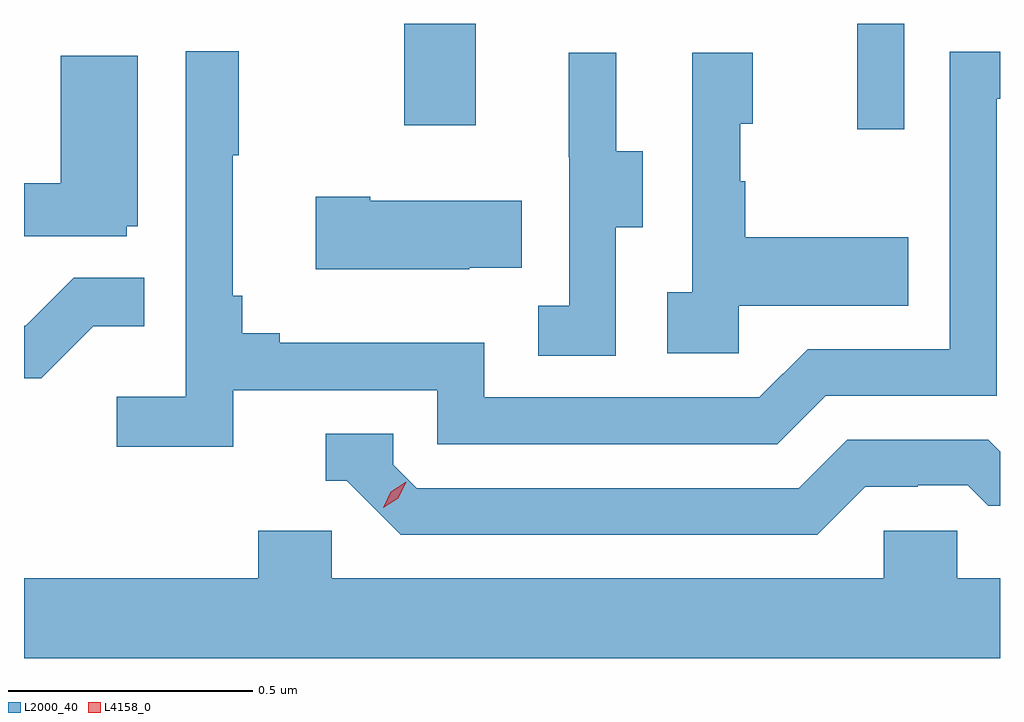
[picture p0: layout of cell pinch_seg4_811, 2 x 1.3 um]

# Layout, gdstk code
import gdstk
lib = gdstk.Library(unit=1e-6, precision=1e-09)
def R(c, l, rs):  # rectangles x0, y0, x1, y1
    for r in rs: c.add(gdstk.rectangle(r[:2], r[2:], *l))
def P(c, l, *ps):  # polygons
    for p in ps: c.add(gdstk.Polygon(p, *l))
L2000_40 = (2000, 40)
L4158_0 = (4158, 0)

pinch_seg4_811 = lib.new_cell('pinch_seg4_811')
R(pinch_seg4_811, L2000_40, [(806.78,829.872,806.877,830.089), (805.852,829.881,805.999,830.089)])
P(pinch_seg4_811, L2000_40, [(805.502,829.338),(805.92,829.338),(805.92,829.227),(806.617,829.227),(806.716,829.326),(807.066,829.326),(807.066,829.935),(807.073,829.935),(807.073,830.031),(806.97,830.031),(806.97,829.422),(806.679,829.422),(806.58,829.323),(806.016,829.323),(806.016,829.435),(805.597,829.435),(805.597,829.454),(805.52,829.454),(805.52,829.531),(805.501,829.531),(805.501,829.819),(805.513,829.819),(805.513,830.032),(805.404,830.032),(805.404,829.324),(805.263,829.324),(805.263,829.222),(805.502,829.222)],
  [(806.538,829.511),(806.885,829.511),(806.885,829.651),(806.551,829.651),(806.551,829.766),(806.541,829.766),(806.541,829.884),(806.566,829.884),(806.566,830.029),(806.442,830.029),(806.442,829.538),(806.391,829.538),(806.391,829.413),(806.538,829.413)],
  [(806.286,829.672),(806.341,829.672),(806.341,829.827),(806.287,829.827),(806.287,830.029),(806.189,830.029),(806.189,829.815),(806.19,829.815),(806.19,829.511),(806.127,829.511),(806.127,829.408),(806.286,829.408)],
  [(805.284,829.674),(805.306,829.674),(805.306,830.023),(805.148,830.023),(805.148,829.762),(805.073,829.762),(805.073,829.653),(805.284,829.653)],
  [(805.985,829.589),(806.093,829.589),(806.093,829.726),(805.783,829.726),(805.783,829.734),(805.671,829.734),(805.671,829.586),(805.985,829.586)],
  [(805.215,829.469),(805.319,829.469),(805.319,829.568),(805.175,829.568),(805.077,829.47),(805.073,829.47),(805.073,829.362),(805.108,829.362)],
  [(806.797,829.14),(806.904,829.14),(806.904,829.143),(807.007,829.143),(807.049,829.101),(807.073,829.101),(807.073,829.212),(807.049,829.236),(806.76,829.236),(806.661,829.137),(805.878,829.137),(805.83,829.185),(805.83,829.248),(805.691,829.248),(805.691,829.152),(805.734,829.152),(805.845,829.041),(806.698,829.041)],
  [(807.073,828.952),(806.985,828.952),(806.985,829.05),(806.835,829.05),(806.835,828.952),(805.704,828.952),(805.704,829.05),(805.553,829.05),(805.553,828.952),(805.073,828.952),(805.073,828.788),(807.073,828.788)])
P(pinch_seg4_811, L4158_0, [(805.809,829.097),(805.809,829.097),(805.825,829.13),(805.856,829.15),(805.856,829.15),(805.856,829.149),(805.84,829.116),(805.809,829.097)])

lib.write_gds('pinch_seg4_811.gds')
